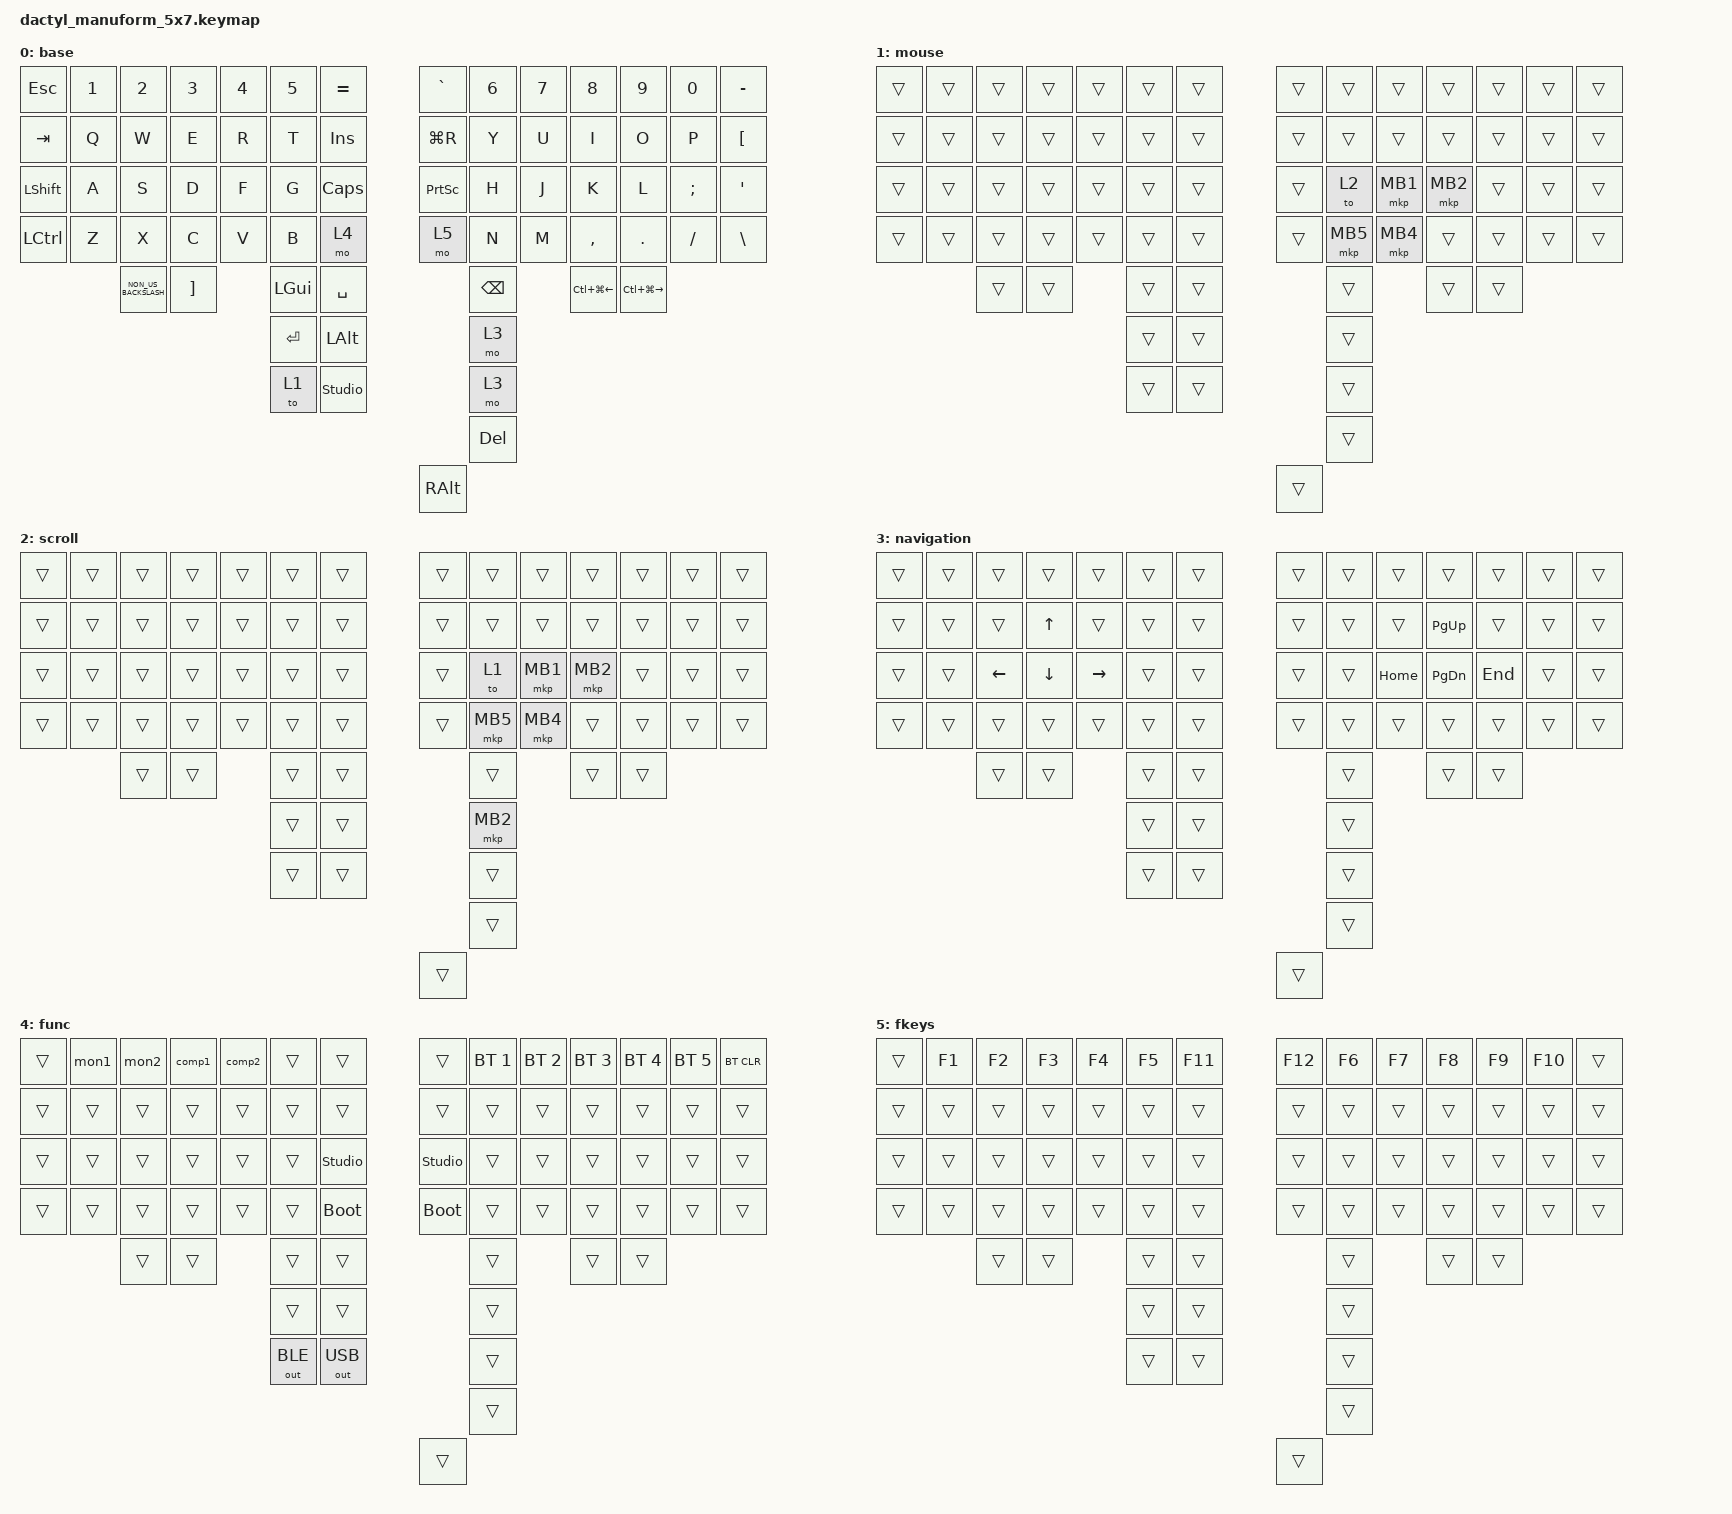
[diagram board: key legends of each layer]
#include <behaviors.dtsi>
#include <dt-bindings/zmk/bt.h>
#include <input/processors.dtsi>
#include <dt-bindings/zmk/keys.h>
#include <dt-bindings/zmk/mouse.h>
#include <dt-bindings/zmk/outputs.h>
#include <dt-bindings/zmk/pointing.h>
#include <dt-bindings/zmk/behaviors.h>
#include <dt-bindings/zmk/input_transform.h>
#include <dt-bindings/zmk/ext_power.h>

// keep all behavior settings for zmk studio
#define ZMK_BEHAVIORS_OMIT_KT

#define DEFAULT 0

/ {
    macros {
        comp1: comp1 {
        compatible = "zmk,behavior-macro";
        label = "COMP1";
        #binding-cells = <0>;
        wait-ms = <100>;
        bindings =
            <&out OUT_USB>,
            <&kp F15>
            ;
        };

        comp2: comp2 {
        compatible = "zmk,behavior-macro";
        label = "COMP2";
        #binding-cells = <0>;
        wait-ms = <100>;
        bindings =
            <&out OUT_USB>,
            <&kp F16>,
            <&out OUT_BLE>,
            <&bt BT_SEL 1>
            ;
        };

        mon1: mon1 {
        compatible = "zmk,behavior-macro";
        label = "mon1";
        #binding-cells = <0>;
        wait-ms = <100>;
        bindings =
            <&out OUT_USB>,
            <&kp F13>
            ;
        };

        mon2: mon2 {
        compatible = "zmk,behavior-macro";
        label = "mon2";
        #binding-cells = <0>;
        wait-ms = <100>;
        bindings =
            <&out OUT_USB>,
            <&kp F14>
            ;
        }; 

    };
    keymap {
        compatible = "zmk,keymap";

        default_layer {
            display-name = "base";
            bindings = <
              &kp ESC               &kp NUMBER_1  &kp NUMBER_2  &kp NUMBER_3  &kp NUMBER_4  &kp NUMBER_5  &kp EQUAL                   &kp GRAVE           &kp NUMBER_6        &kp NUMBER_7       &kp NUMBER_8  &kp NUMBER_9  &kp NUMBER_0   &kp MINUS
              &kp TAB               &kp Q         &kp W         &kp E         &kp R         &kp T         &kp INSERT                  &kp LG(R)           &kp Y               &kp U              &kp I         &kp O         &kp P          &kp LBKT
              &kp LSHIFT            &kp A         &kp S         &kp D         &kp F         &kp G         &kp CAPS                    &kp PSCRN           &kp H               &kp J              &kp K         &kp L         &kp SEMICOLON  &kp SINGLE_QUOTE
              &kp LCTRL             &kp Z         &kp X         &kp C         &kp V         &kp B         &mo 4                       &mo 5               &kp N               &kp M              &kp COMMA     &kp PERIOD    &kp SLASH      &kp BACKSLASH
              &kp NON_US_BACKSLASH  &kp RBKT      &kp LGUI      &kp SPACE     &kp LALT      &kp RALT      &kp DEL    &mo 3            &kp LC(LG(LEFT))    &kp LC(LG(RIGHT))   &mo 3              &kp BACKSPACE &kp ENTER     &to 1          &studio_unlock
            
            >;
        };

        mouse_layer {
            display-name = "mouse";
            bindings = <
              &trans                &trans        &trans        &trans        &trans        &trans        &trans                      &trans              &trans              &trans            &trans        &trans        &trans         &trans
              &trans                &trans        &trans        &trans        &trans        &trans        &trans                      &trans              &trans              &trans            &trans        &trans        &trans         &trans
              &trans                &trans        &trans        &trans        &trans        &trans        &trans                      &trans              &to 2               &mkp MB1          &mkp MB2      &trans        &trans         &trans
              &trans                &trans        &trans        &trans        &trans        &trans        &trans                      &trans              &mkp MB5            &mkp MB4          &trans        &trans        &trans         &trans
              &trans                &trans        &trans        &trans        &trans        &trans        &trans     &trans           &trans              &trans              &trans            &trans        &trans        &trans         &trans
            
            >;
        };

        scroll_layer {
            display-name = "scroll";
            bindings = <
              &trans                &trans        &trans        &trans        &trans        &trans        &trans                      &trans              &trans             &trans             &trans        &trans        &trans         &trans
              &trans                &trans        &trans        &trans        &trans        &trans        &trans                      &trans              &trans             &trans             &trans        &trans        &trans         &trans
              &trans                &trans        &trans        &trans        &trans        &trans        &trans                      &trans              &to 1              &mkp MB1           &mkp MB2      &trans        &trans         &trans
              &trans                &trans        &trans        &trans        &trans        &trans        &trans                      &trans              &mkp MB5           &mkp MB4           &trans        &trans        &trans         &trans
              &trans                &trans        &trans        &trans        &trans        &trans        &trans     &trans           &trans              &trans             &mkp MB2           &trans        &trans        &trans         &trans
            
            >;
        };
        
        navigation_layer {
            display-name = "navigation";
            bindings = <
              &trans                &trans        &trans        &trans        &trans        &trans        &trans                      &trans              &trans             &trans        &trans           &trans        &trans         &trans
              &trans                &trans        &trans        &kp UP        &trans        &trans        &trans                      &trans              &trans             &trans        &kp PAGE_UP      &trans        &trans         &trans
              &trans                &trans        &kp LEFT      &kp DOWN      &kp RIGHT     &trans        &trans                      &trans              &trans             &kp HOME      &kp PAGE_DOWN    &kp END       &trans         &trans
              &trans                &trans        &trans        &trans        &trans        &trans        &trans                      &trans              &trans             &trans        &trans           &trans        &trans         &trans
              &trans                &trans        &trans        &trans        &trans        &trans        &trans     &trans           &trans              &trans             &trans        &trans           &trans        &trans         &trans
            
            >;
        };

        function_layer {
            display-name = "func";
            bindings = <
              &trans                &mon1         &mon2         &comp1        &comp2        &trans        &trans                      &trans             &bt BT_SEL 1  &bt BT_SEL 2  &bt BT_SEL 3  &bt BT_SEL 4  &bt BT_SEL 5   &bt BT_CLR 
              &trans                &trans        &trans        &trans        &trans        &trans        &trans                      &trans             &trans        &trans        &trans        &trans        &trans         &trans
              &trans                &trans        &trans        &trans        &trans        &trans        &studio_unlock              &studio_unlock     &trans        &trans        &trans        &trans        &trans         &trans
              &trans                &trans        &trans        &trans        &trans        &trans        &bootloader                 &bootloader        &trans        &trans        &trans        &trans        &trans         &trans
              &trans                &trans        &trans        &trans        &trans        &trans        &trans     &trans           &trans             &trans        &trans        &trans        &trans        &out OUT_BLE   &out OUT_USB
            >;
        };

        fkeys_layer {
            display-name = "fkeys";
            bindings = <
              &trans                &kp F1        &kp F2        &kp F3        &kp F4        &kp F5        &kp F11                     &kp F12             &kp F6             &kp F7        &kp F8           &kp F9        &kp F10        &trans
              &trans                &trans        &trans        &trans        &trans        &trans        &trans                      &trans              &trans             &trans        &trans           &trans        &trans         &trans
              &trans                &trans        &trans        &trans        &trans        &trans        &trans                      &trans              &trans             &trans        &trans           &trans        &trans         &trans
              &trans                &trans        &trans        &trans        &trans        &trans        &trans                      &trans              &trans             &trans        &trans           &trans        &trans         &trans
              &trans                &trans        &trans        &trans        &trans        &trans        &trans     &trans           &trans              &trans             &trans        &trans           &trans        &trans         &trans
            
            >;
        };

        extra1 {
                status = "reserved";
            };

        extra2 {
                status = "reserved";
            };
    };
};
